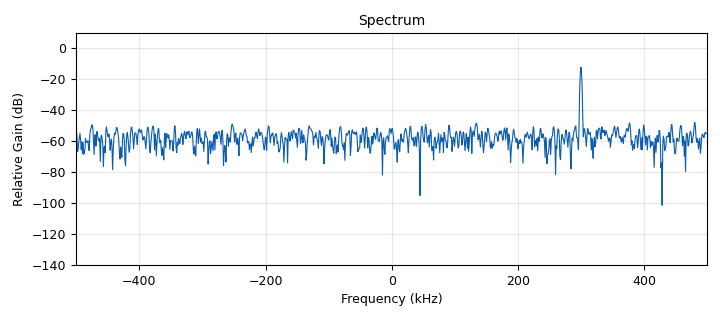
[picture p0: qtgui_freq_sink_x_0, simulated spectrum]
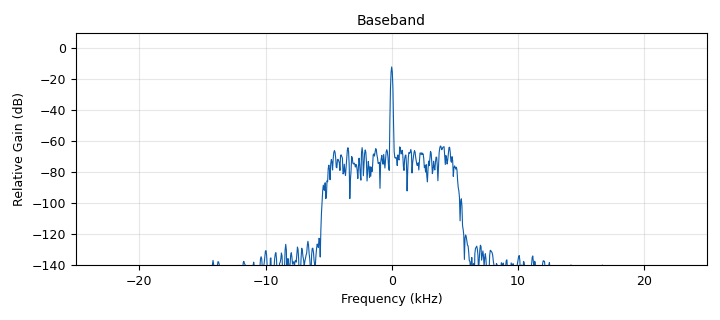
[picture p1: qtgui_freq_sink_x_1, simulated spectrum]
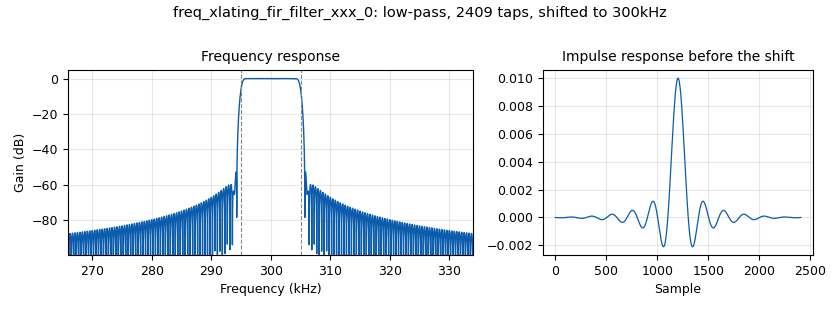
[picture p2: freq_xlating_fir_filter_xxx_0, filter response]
options:
  parameters:
    author: Ettus Research
    category: Custom
    description: Example usage of Freq Xlating FIR Filter
    generate_options: qt_gui
    id: freq_xlate_fir
    output_language: python
    title: Frequency Xlating FIR Example
  states: {}

blocks:
- name: bb_rate
  id: variable
  parameters:
    value: 50e3
  states: {}
- name: decimation
  id: variable
  parameters:
    value: int(samp_rate / bb_rate)
  states: {}
- name: noise_amp
  id: variable_qtgui_range
  parameters:
    gui_hint: 0, 2, 1, 2
    label: Noise
    outputmsgname: value
    showports: 'False'
    start: '0'
    step: '.1'
    stop: '1'
    value: '.1'
  states: {}
- name: samp_rate
  id: variable
  parameters:
    value: 1e6
  states: {}
- name: sine_freq
  id: variable_qtgui_range
  parameters:
    gui_hint: 0, 0, 1, 2
    label: Sine Frequency
    outputmsgname: value
    showports: 'False'
    start: '0'
    step: 1e3
    stop: 1e6
    value: 300e3
  states: {}
- name: taps
  id: variable
  parameters:
    value: firdes.low_pass(1.0, samp_rate, xlate_bw/2, 1000)
  states: {}
- name: xlate_bw
  id: variable_qtgui_range
  parameters:
    gui_hint: 1, 2, 1, 2
    label: Xlate Bandwidth
    outputmsgname: value
    showports: 'False'
    start: '0'
    step: '1'
    stop: 50e3
    value: 10e3
  states: {}
- name: xlate_freq
  id: variable_qtgui_range
  parameters:
    gui_hint: 1, 0, 1, 2
    label: Xlate Frequency
    outputmsgname: value
    showports: 'False'
    start: '-samp_rate/2'
    step: '1'
    stop: samp_rate/2
    value: 300e3
  states: {}
- name: analog_noise_source_x_0
  id: analog_noise_source_x
  parameters:
    amp: noise_amp
    noise_type: analog.GR_GAUSSIAN
    seed: '0'
    type: complex
  states: {}
- name: analog_sig_source_x_0
  id: analog_sig_source_x
  parameters:
    amp: '.7'
    freq: sine_freq
    offset: '0'
    phase: '0'
    samp_rate: samp_rate
    type: complex
    waveform: analog.GR_COS_WAVE
  states: {}
- name: blocks_add_xx_0
  id: blocks_add_xx
  parameters:
    type: complex
  states: {}
- name: blocks_throttle_0
  id: blocks_throttle
  parameters:
    samples_per_second: samp_rate
    type: complex
  states: {}
- name: freq_xlating_fir_filter_xxx_0
  id: freq_xlating_fir_filter_xxx
  parameters:
    center_freq: xlate_freq
    decim: decimation
    samp_rate: samp_rate
    taps: taps
    type: ccc
  states: {}
- name: qtgui_freq_sink_x_0
  id: qtgui_freq_sink_x
  parameters:
    bw: samp_rate
    fc: '0'
    fftsize: '1024'
    gui_hint: 2, 0, 1,4
    name: '"Spectrum"'
    showports: 'True'
    type: complex
  states: {}
- name: qtgui_freq_sink_x_1
  id: qtgui_freq_sink_x
  parameters:
    bw: bb_rate
    fc: '0'
    fftsize: '1024'
    gui_hint: 3, 0, 1, 4
    name: '"Baseband"'
    showports: 'True'
    type: complex
  states: {}

connections:
- [analog_noise_source_x_0, '0', blocks_add_xx_0, '1']
- [analog_sig_source_x_0, '0', blocks_add_xx_0, '0']
- [blocks_add_xx_0, '0', blocks_throttle_0, '0']
- [blocks_throttle_0, '0', freq_xlating_fir_filter_xxx_0, '0']
- [blocks_throttle_0, '0', qtgui_freq_sink_x_0, '0']
- [freq_xlating_fir_filter_xxx_0, '0', qtgui_freq_sink_x_1, '0']

metadata:
  file_format: 1
  grc_version: 3.10.4.0
